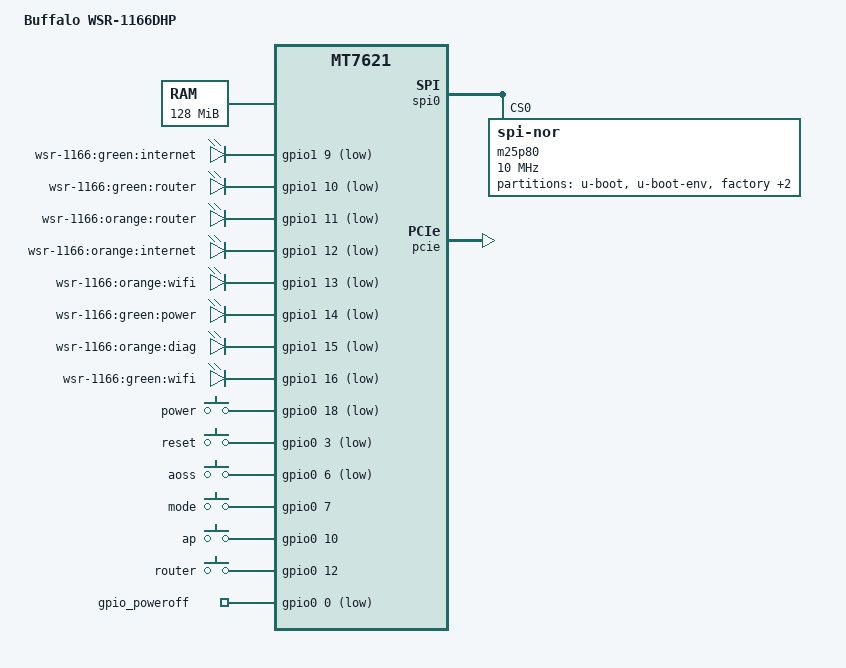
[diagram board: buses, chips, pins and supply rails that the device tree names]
/dts-v1/;

#include "mt7621.dtsi"

/ {
	compatible = "ralink,mt7621-eval-board", "ralink,mt7621-soc";
	model = "Buffalo WSR-1166DHP";

	memory@0 {
		device_type = "memory";
		reg = <0x0 0x8000000>;
	};

	chosen {
		bootargs = "console=ttyS0,57600";
	};

	gpio-leds {
		compatible = "gpio-leds";

		internet_g {
			label = "wsr-1166:green:internet";
			gpios = <&gpio1 9 1>;
		};

		router_g {
			label = "wsr-1166:green:router";
			gpios = <&gpio1 10 1>;
		};

		router_o {
			label = "wsr-1166:orange:router";
			gpios = <&gpio1 11 1>;
		};

		internet_o {
			label = "wsr-1166:orange:internet";
			gpios = <&gpio1 12 1>;
		};

		wifi_o {
			label = "wsr-1166:orange:wifi";
			gpios = <&gpio1 13 1>;
		};

		power {
			label = "wsr-1166:green:power";
			gpios = <&gpio1 14 1>;
		};

		diag {
			label = "wsr-1166:orange:diag";
			gpios = <&gpio1 15 1>;
		};

		wifi_g {
			label = "wsr-1166:green:wifi";
			gpios = <&gpio1 16 1>;
		};
	};

	gpio-keys-polled {
		compatible = "gpio-keys-polled";
		#address-cells = <1>;
		#size-cells = <0>;
		poll-interval = <20>;

		power {
			label = "power";
			gpios = <&gpio0 18 1>;
			linux,code = <0x74>;
		};

		reset {
			label = "reset";
			gpios = <&gpio0 3 1>;
			linux,code = <0x198>;
		};

		aoss {
			label = "aoss";
			gpios = <&gpio0 6 1>;
			linux,code = <0x211>;
		};

		auto {
			label = "mode";
			gpios = <&gpio0 7 0>;
			linux,code = <0x100>;
			linux,input-type = <5>; /* EV_SW */
		};

		ap {
			label = "ap";
			gpios = <&gpio0 10 0>;
			linux,code = <0x100>;
			linux,input-type = <5>; /* EV_SW */
		};

		router {
			label = "router";
			gpios = <&gpio0 12 0>;
			linux,code = <0x100>;
			linux,input-type = <5>; /* EV_SW */
		};
	};

	gpio_poweroff {
		compatible = "gpio-poweroff";
		gpios = <&gpio0 0 1>;
	};
};

&spi0 {
	status = "okay";

	m25p80@0 {
		#address-cells = <1>;
		#size-cells = <1>;
		compatible = "jedec,spi-nor";
		reg = <0>;
		linux,modalias = "m25p80";
		spi-max-frequency = <10000000>;

		partition@0 {
			label = "u-boot";
			reg = <0x0 0x30000>;
			read-only;
		};

		partition@30000 {
			label = "u-boot-env";
			reg = <0x30000 0x10000>;
			read-only;
		};

		factory: partition@40000 {
			label = "factory";
			reg = <0x40000 0x10000>;
			read-only;
		};

		partition@50000 {
			label = "firmware";
			reg = <0x50000 0xf90000>;
		};

		partition@fe0000 {
			label = "board_data";
			reg = <0xfe0000 0x20000>;
		};
	};
};

&pinctrl {
	state_default: pinctrl0 {
		gpio {
			ralink,group = "i2c", "uart2", "uart3", "rgmii2", "sdhci";
			ralink,function = "gpio";
		};
	};
};

&pcie {
	status = "okay";

	pcie0 {
		mt76@0,0 {
			reg = <0x0000 0 0 0 0>;
			device_type = "pci";
			mediatek,mtd-eeprom = <&factory 0x8000>;
			mediatek,2ghz = <0>;
		};
	};

	pcie1 {
		mt76@1,0 {
			reg = <0x0000 0 0 0 0>;
			device_type = "pci";
			mediatek,mtd-eeprom = <&factory 0x0000>;
			mediatek,5ghz = <0>;
		};
	};
};
